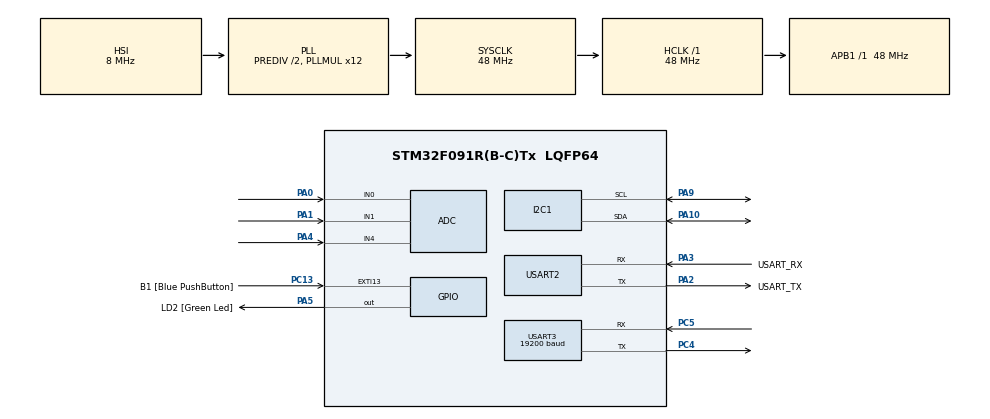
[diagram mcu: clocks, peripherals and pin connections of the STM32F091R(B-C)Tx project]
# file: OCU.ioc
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ADC.ContinuousConvMode=ENABLE
ADC.DMAContinuousRequests=ENABLE
ADC.SamplingTime=ADC_SAMPLETIME_239CYCLES_5
Dma.ADC.1.Direction=DMA_PERIPH_TO_MEMORY
Dma.ADC.1.Instance=DMA1_Channel1
Dma.ADC.1.MemDataAlignment=DMA_MDATAALIGN_WORD
Dma.ADC.1.MemInc=DMA_MINC_ENABLE
Dma.ADC.1.Mode=DMA_CIRCULAR
Dma.ADC.1.PeriphDataAlignment=DMA_PDATAALIGN_WORD
Dma.ADC.1.PeriphInc=DMA_PINC_DISABLE
Dma.ADC.1.Priority=DMA_PRIORITY_LOW
Dma.Request0=USART3_RX
Dma.Request1=ADC
Dma.USART3_RX.0.Direction=DMA_PERIPH_TO_MEMORY
Dma.USART3_RX.0.Instance=DMA1_Channel3
Dma.USART3_RX.0.MemDataAlignment=DMA_MDATAALIGN_BYTE
Dma.USART3_RX.0.MemInc=DMA_MINC_ENABLE
Dma.USART3_RX.0.Mode=DMA_NORMAL
Dma.USART3_RX.0.PeriphDataAlignment=DMA_PDATAALIGN_BYTE
Dma.USART3_RX.0.PeriphInc=DMA_PINC_DISABLE
Dma.USART3_RX.0.Priority=DMA_PRIORITY_LOW
Mcu.Family=STM32F0
Mcu.Name=STM32F091R(B-C)Tx
Mcu.Package=LQFP64
NVIC.ADC1_COMP_IRQn=true\:0\:0\:false\:false\:true\:true\:true
NVIC.DMA1_Ch1_IRQn=true\:0\:0\:false\:false\:true\:false\:true
NVIC.DMA1_Ch2_3_DMA2_Ch1_2_IRQn=true\:0\:0\:false\:false\:true\:false\:true
NVIC.USART3_8_IRQn=true\:0\:0\:false\:false\:true\:true\:true
PA0.Mode=IN0
PA0.Signal=ADC_IN0
PA1.Mode=IN1
PA1.Signal=ADC_IN1
PA10.Mode=I2C
PA10.Signal=I2C1_SDA
PA13.GPIO_Label=TMS
PA13.Mode=Serial_Wire
PA13.Signal=SYS_SWDIO
PA14.GPIO_Label=TCK
PA14.Mode=Serial_Wire
PA14.Signal=SYS_SWCLK
PA2.GPIO_Label=USART_TX
PA2.GPIO_Mode=GPIO_MODE_AF_PP
PA2.GPIO_PuPd=GPIO_NOPULL
PA2.GPIO_Speed=GPIO_SPEED_FREQ_LOW
PA2.Mode=Asynchronous
PA2.Signal=USART2_TX
PA3.GPIO_Label=USART_RX
PA3.GPIO_Mode=GPIO_MODE_AF_PP
PA3.GPIO_PuPd=GPIO_NOPULL
PA3.GPIO_Speed=GPIO_SPEED_FREQ_LOW
PA3.Mode=Asynchronous
PA3.Signal=USART2_RX
PA4.Mode=IN4
PA4.Signal=ADC_IN4
PA5.GPIO_Label=LD2 [Green Led]
PA5.GPIO_Mode=GPIO_MODE_OUTPUT_PP
PA5.GPIO_PuPd=GPIO_NOPULL
PA5.GPIO_Speed=GPIO_SPEED_FREQ_LOW
PA5.Signal=GPIO_Output
PA9.Mode=I2C
PA9.Signal=I2C1_SCL
PC13.GPIO_Label=B1 [Blue PushButton]
PC13.GPIO_ModeDefaultEXTI=GPIO_MODE_IT_FALLING
PC13.Signal=GPXTI13
PC14OSC32_IN.Mode=LSE-External-Oscillator
PC14OSC32_IN.Signal=RCC_OSC32_IN
PC15OSC32_OUT.Mode=LSE-External-Oscillator
PC15OSC32_OUT.Signal=RCC_OSC32_OUT
PC4.Mode=Asynchronous
PC4.Signal=USART3_TX
PC5.Mode=Asynchronous
PC5.Signal=USART3_RX
PF0-OSC_IN.Mode=HSE-External-Clock-Source
PF0-OSC_IN.Signal=RCC_OSC_IN
PF1-OSC_OUT.Signal=RCC_OSC_OUT
ProjectManager.HeapSize=0x200
ProjectManager.StackSize=0x400
ProjectManager.TargetToolchain=STM32CubeIDE
RCC.AHBFreq_Value=48000000
RCC.APB1Freq_Value=48000000
RCC.APB1TimFreq_Value=48000000
RCC.FLatency-AdvancedSettings=FLASH_LATENCY_1
RCC.HCLKFreq_Value=48000000
RCC.PLLDivider=RCC_PREDIV_DIV2
RCC.PLLMUL=RCC_PLL_MUL12
RCC.PREFETCH_ENABLE-AdvancedSettings=1
RCC.SYSCLKFreq_VALUE=48000000
RCC.SYSCLKSource=RCC_SYSCLKSOURCE_PLLCLK
TIM2.Period=100
TIM2.Prescaler=8400
TIM2.TIM_MasterOutputTrigger=TIM_TRGO_UPDATE
USART2.VirtualMode=VM_ASYNC
USART2.VirtualMode-Asynchronous=VM_ASYNC
USART3.BaudRate=19200
USART3.VirtualMode-Asynchronous=VM_ASYNC
VP_TIM2_VS_ClockSourceINT.Mode=Internal
board=NUCLEO-F091RC

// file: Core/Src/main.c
/* USER CODE BEGIN Header */
/**
 ******************************************************************************
 * @file           : main.c
 * @brief          : Main program body
 ******************************************************************************
 * @attention
 *
 * Copyright (c) 2022 STMicroelectronics.
 * All rights reserved.
 *
 * This software is licensed under terms that can be found in the LICENSE file
 * in the root directory of this software component.
 * If no LICENSE file comes with this software, it is provided AS-IS.
 *
 ******************************************************************************
 */
/* USER CODE END Header */
#include "main.h"

/* USER CODE BEGIN Includes */
#include "optocouple.h"
#include "thermocouple.h"
#include "obc_spi.h"
#include <stdlib.h>
#include <stdio.h>
#include "pfcv.h"
#include "adc_dac.h"
#include "FIR_DSP.h"
/* USER CODE END Includes */

ADC_HandleTypeDef hadc;
DMA_HandleTypeDef hdma_adc;

I2C_HandleTypeDef hi2c1;

TIM_HandleTypeDef htim2;

UART_HandleTypeDef huart2;
UART_HandleTypeDef huart3;
DMA_HandleTypeDef hdma_usart3_rx;

/* USER CODE BEGIN PV */
uint8_t address[4] = { 0xC0, 0xC2, 0xC4, 0xC6 };
uint32_t adc_values[3];
uint8_t pinCfg = 0x01;
uint8_t transmit[6] = { "A$$17\r" };
uint8_t set_point_[6] = { "A    \r" };
uint8_t mass_flow_acceptor[7];
uint8_t mass_flow_;
uint8_t receive[49];
uint8_t x = 0;
double adc_pressure_sensor = 0;
double voltage1, voltage2, voltage3 = 0;
double current1, current2, current3;
double current1_actual;
int set_point_pfcv;
float filtered_output;
double value_1;
char pfcv_set_point[4];
double value;
int tempdata = 32;
int count =0;
FIRFILTER lpfil;

/* USER CODE END PV */

void SystemClock_Config(void);
static void MX_GPIO_Init(void);
static void MX_USART2_UART_Init(void);
static void MX_I2C1_Init(void);
static void MX_DMA_Init(void);
static void MX_USART3_UART_Init(void);
static void MX_ADC_Init(void);
static void MX_TIM2_Init(void);

int main(void)
{

  /* MCU Configuration--------------------------------------------------------*/

  /* Reset of all peripherals, Initializes the Flash interface and the Systick. */
  HAL_Init();

  /* USER CODE BEGIN Init */
	Sensors_Init(); /* Control On/Off For Loads */

  /* USER CODE END Init */

  /* Configure the system clock */
  SystemClock_Config();

  /* Initialize all configured peripherals */
  MX_GPIO_Init();
  MX_USART2_UART_Init();
  MX_I2C1_Init();
  MX_DMA_Init();
  MX_USART3_UART_Init();
  MX_ADC_Init();
  MX_TIM2_Init();
  /* USER CODE BEGIN 2 */
  FIR_DSP_Init(&lpfil);

  /* USER CODE END 2 */

  /* Infinite loop */
	while (1) {

    /* USER CODE BEGIN 3 */

		for(int abc = 0; abc < 10; abc++)
		{
		 count++;
		 HAL_Delay(100);
		}

	/*	value = pfcv_init(&huart3, transmit, receive, mass_flow_acceptor); Mass Flow Controller Function
		ADC_System_Start(&hadc, adc_values, &htim2); Multiple ADC Channels
		//adc_pressure_sensor = 0.0007*adc_values[0] + 0.0781; /*Pressure Sensor

		// V = ADC_VALUE * V_REF / RESOLUTION
		// I = V - V_CC at I0 / SENSITIVITY
		voltage1 = ((double) adc_values[0] * (3.3/4095));
		current1 =  (voltage1 - 0.5 ) / 0.4;
		//filtered_output = FIR_DSP_Update(&lpfil, adc_values[0]);
		voltage1 = ( (double) filtered_output* 3.3 * 2)/ (4095* 0.8); //0.905 is tolerance of resistors
		//filtered_output = FIR_DSP_Update(&lpfil, voltage1);
		current1 = ((voltage1 - 0.5)/ 0.448) - 0.1; // sensitivity is 400*/

		/*voltage2 = ( (double) adc_values[1]* 3.3 * 2)/ (4095* 0.932);
		current2 = (voltage2 - 2.5)/ 0.448;

		voltage3 = ( (double) adc_values[2]* 3.3 * 2)/ (4095* 0.94);
		current3 = (voltage3 - 2.5)/ 0.448;

		pfcv_send_set_point(&huart3, tempdata, set_point_, adc_pressure_sensor);
*/
		//HAL_ADC_ConvCpltCallback(&hadc, adc_values);

	}
  /* USER CODE END 3 */
}

void SystemClock_Config(void)
{
  RCC_OscInitTypeDef RCC_OscInitStruct = {0};
  RCC_ClkInitTypeDef RCC_ClkInitStruct = {0};
  RCC_PeriphCLKInitTypeDef PeriphClkInit = {0};

  /** Initializes the RCC Oscillators according to the specified parameters
  * in the RCC_OscInitTypeDef structure.
  */
  RCC_OscInitStruct.OscillatorType = RCC_OSCILLATORTYPE_HSI|RCC_OSCILLATORTYPE_HSI14;
  RCC_OscInitStruct.HSIState = RCC_HSI_ON;
  RCC_OscInitStruct.HSI14State = RCC_HSI14_ON;
  RCC_OscInitStruct.HSICalibrationValue = RCC_HSICALIBRATION_DEFAULT;
  RCC_OscInitStruct.HSI14CalibrationValue = 16;
  RCC_OscInitStruct.PLL.PLLState = RCC_PLL_ON;
  RCC_OscInitStruct.PLL.PLLSource = RCC_PLLSOURCE_HSI;
  RCC_OscInitStruct.PLL.PLLMUL = RCC_PLL_MUL12;
  RCC_OscInitStruct.PLL.PREDIV = RCC_PREDIV_DIV2;
  if (HAL_RCC_OscConfig(&RCC_OscInitStruct) != HAL_OK)
  {
    Error_Handler();
  }
  /** Initializes the CPU, AHB and APB buses clocks
  */
  RCC_ClkInitStruct.ClockType = RCC_CLOCKTYPE_HCLK|RCC_CLOCKTYPE_SYSCLK
                              |RCC_CLOCKTYPE_PCLK1;
  RCC_ClkInitStruct.SYSCLKSource = RCC_SYSCLKSOURCE_PLLCLK;
  RCC_ClkInitStruct.AHBCLKDivider = RCC_SYSCLK_DIV1;
  RCC_ClkInitStruct.APB1CLKDivider = RCC_HCLK_DIV1;

  if (HAL_RCC_ClockConfig(&RCC_ClkInitStruct, FLASH_LATENCY_1) != HAL_OK)
  {
    Error_Handler();
  }
  PeriphClkInit.PeriphClockSelection = RCC_PERIPHCLK_USART3|RCC_PERIPHCLK_USART2
                              |RCC_PERIPHCLK_I2C1;
  PeriphClkInit.Usart2ClockSelection = RCC_USART2CLKSOURCE_PCLK1;
  PeriphClkInit.Usart3ClockSelection = RCC_USART3CLKSOURCE_PCLK1;
  PeriphClkInit.I2c1ClockSelection = RCC_I2C1CLKSOURCE_HSI;
  if (HAL_RCCEx_PeriphCLKConfig(&PeriphClkInit) != HAL_OK)
  {
    Error_Handler();
  }
}

static void MX_ADC_Init(void)
{

  ADC_ChannelConfTypeDef sConfig = {0};

  /** Configure the global features of the ADC (Clock, Resolution, Data Alignment and number of conversion)
  */
  hadc.Instance = ADC1;
  hadc.Init.ClockPrescaler = ADC_CLOCK_ASYNC_DIV1;
  hadc.Init.Resolution = ADC_RESOLUTION_12B;
  hadc.Init.DataAlign = ADC_DATAALIGN_RIGHT;
  hadc.Init.ScanConvMode = ADC_SCAN_DIRECTION_FORWARD;
  hadc.Init.EOCSelection = ADC_EOC_SINGLE_CONV;
  hadc.Init.LowPowerAutoWait = DISABLE;
  hadc.Init.LowPowerAutoPowerOff = DISABLE;
  hadc.Init.ContinuousConvMode = ENABLE;
  hadc.Init.DiscontinuousConvMode = DISABLE;
  hadc.Init.ExternalTrigConv = ADC_SOFTWARE_START;
  hadc.Init.ExternalTrigConvEdge = ADC_EXTERNALTRIGCONVEDGE_NONE;
  hadc.Init.DMAContinuousRequests = ENABLE;
  hadc.Init.Overrun = ADC_OVR_DATA_PRESERVED;
  if (HAL_ADC_Init(&hadc) != HAL_OK)
  {
    Error_Handler();
  }
  /** Configure for the selected ADC regular channel to be converted.
  */
  sConfig.Channel = ADC_CHANNEL_0;
  sConfig.Rank = ADC_RANK_CHANNEL_NUMBER;
  sConfig.SamplingTime = ADC_SAMPLETIME_239CYCLES_5;
  if (HAL_ADC_ConfigChannel(&hadc, &sConfig) != HAL_OK)
  {
    Error_Handler();
  }
  /** Configure for the selected ADC regular channel to be converted.
  */
  sConfig.Channel = ADC_CHANNEL_1;
  if (HAL_ADC_ConfigChannel(&hadc, &sConfig) != HAL_OK)
  {
    Error_Handler();
  }
  /** Configure for the selected ADC regular channel to be converted.
  */
  sConfig.Channel = ADC_CHANNEL_4;
  if (HAL_ADC_ConfigChannel(&hadc, &sConfig) != HAL_OK)
  {
    Error_Handler();
  }

}

static void MX_I2C1_Init(void)
{

  hi2c1.Instance = I2C1;
  hi2c1.Init.Timing = 0x2000090E;
  hi2c1.Init.OwnAddress1 = 0;
  hi2c1.Init.AddressingMode = I2C_ADDRESSINGMODE_7BIT;
  hi2c1.Init.DualAddressMode = I2C_DUALADDRESS_DISABLE;
  hi2c1.Init.OwnAddress2 = 0;
  hi2c1.Init.OwnAddress2Masks = I2C_OA2_NOMASK;
  hi2c1.Init.GeneralCallMode = I2C_GENERALCALL_DISABLE;
  hi2c1.Init.NoStretchMode = I2C_NOSTRETCH_DISABLE;
  if (HAL_I2C_Init(&hi2c1) != HAL_OK)
  {
    Error_Handler();
  }
  /** Configure Analogue filter
  */
  if (HAL_I2CEx_ConfigAnalogFilter(&hi2c1, I2C_ANALOGFILTER_ENABLE) != HAL_OK)
  {
    Error_Handler();
  }
  /** Configure Digital filter
  */
  if (HAL_I2CEx_ConfigDigitalFilter(&hi2c1, 0) != HAL_OK)
  {
    Error_Handler();
  }

}

static void MX_TIM2_Init(void)
{

  TIM_ClockConfigTypeDef sClockSourceConfig = {0};
  TIM_MasterConfigTypeDef sMasterConfig = {0};

  htim2.Instance = TIM2;
  htim2.Init.Prescaler = 8400;
  htim2.Init.CounterMode = TIM_COUNTERMODE_UP;
  htim2.Init.Period = 100;
  htim2.Init.ClockDivision = TIM_CLOCKDIVISION_DIV1;
  htim2.Init.AutoReloadPreload = TIM_AUTORELOAD_PRELOAD_DISABLE;
  if (HAL_TIM_Base_Init(&htim2) != HAL_OK)
  {
    Error_Handler();
  }
  sClockSourceConfig.ClockSource = TIM_CLOCKSOURCE_INTERNAL;
  if (HAL_TIM_ConfigClockSource(&htim2, &sClockSourceConfig) != HAL_OK)
  {
    Error_Handler();
  }
  sMasterConfig.MasterOutputTrigger = TIM_TRGO_UPDATE;
  sMasterConfig.MasterSlaveMode = TIM_MASTERSLAVEMODE_DISABLE;
  if (HAL_TIMEx_MasterConfigSynchronization(&htim2, &sMasterConfig) != HAL_OK)
  {
    Error_Handler();
  }

}

static void MX_USART2_UART_Init(void)
{

  huart2.Instance = USART2;
  huart2.Init.BaudRate = 115200;
  huart2.Init.WordLength = UART_WORDLENGTH_8B;
  huart2.Init.StopBits = UART_STOPBITS_1;
  huart2.Init.Parity = UART_PARITY_NONE;
  huart2.Init.Mode = UART_MODE_TX_RX;
  huart2.Init.HwFlowCtl = UART_HWCONTROL_NONE;
  huart2.Init.OverSampling = UART_OVERSAMPLING_16;
  huart2.Init.OneBitSampling = UART_ONE_BIT_SAMPLE_DISABLE;
  huart2.AdvancedInit.AdvFeatureInit = UART_ADVFEATURE_NO_INIT;
  if (HAL_UART_Init(&huart2) != HAL_OK)
  {
    Error_Handler();
  }

}

static void MX_USART3_UART_Init(void)
{

  huart3.Instance = USART3;
  huart3.Init.BaudRate = 19200;
  huart3.Init.WordLength = UART_WORDLENGTH_8B;
  huart3.Init.StopBits = UART_STOPBITS_1;
  huart3.Init.Parity = UART_PARITY_NONE;
  huart3.Init.Mode = UART_MODE_TX_RX;
  huart3.Init.HwFlowCtl = UART_HWCONTROL_NONE;
  huart3.Init.OverSampling = UART_OVERSAMPLING_16;
  huart3.Init.OneBitSampling = UART_ONE_BIT_SAMPLE_DISABLE;
  huart3.AdvancedInit.AdvFeatureInit = UART_ADVFEATURE_NO_INIT;
  if (HAL_UART_Init(&huart3) != HAL_OK)
  {
    Error_Handler();
  }

}

static void MX_DMA_Init(void)
{

  /* DMA controller clock enable */
  __HAL_RCC_DMA1_CLK_ENABLE();

  /* DMA interrupt init */
  /* DMA1_Ch1_IRQn interrupt configuration */
  HAL_NVIC_SetPriority(DMA1_Ch1_IRQn, 0, 0);
  HAL_NVIC_EnableIRQ(DMA1_Ch1_IRQn);
  /* DMA1_Ch2_3_DMA2_Ch1_2_IRQn interrupt configuration */
  HAL_NVIC_SetPriority(DMA1_Ch2_3_DMA2_Ch1_2_IRQn, 0, 0);
  HAL_NVIC_EnableIRQ(DMA1_Ch2_3_DMA2_Ch1_2_IRQn);

}

static void MX_GPIO_Init(void)
{
  GPIO_InitTypeDef GPIO_InitStruct = {0};

  /* GPIO Ports Clock Enable */
  __HAL_RCC_GPIOC_CLK_ENABLE();
  __HAL_RCC_GPIOF_CLK_ENABLE();
  __HAL_RCC_GPIOA_CLK_ENABLE();

  /*Configure GPIO pin Output Level */
  HAL_GPIO_WritePin(LD2_GPIO_Port, LD2_Pin, GPIO_PIN_RESET);

  /*Configure GPIO pin : B1_Pin */
  GPIO_InitStruct.Pin = B1_Pin;
  GPIO_InitStruct.Mode = GPIO_MODE_IT_FALLING;
  GPIO_InitStruct.Pull = GPIO_NOPULL;
  HAL_GPIO_Init(B1_GPIO_Port, &GPIO_InitStruct);

  /*Configure GPIO pin : LD2_Pin */
  GPIO_InitStruct.Pin = LD2_Pin;
  GPIO_InitStruct.Mode = GPIO_MODE_OUTPUT_PP;
  GPIO_InitStruct.Pull = GPIO_NOPULL;
  GPIO_InitStruct.Speed = GPIO_SPEED_FREQ_LOW;
  HAL_GPIO_Init(LD2_GPIO_Port, &GPIO_InitStruct);

}

void Error_Handler(void)
{
	__disable_irq();
	while (1) {
	}
}
